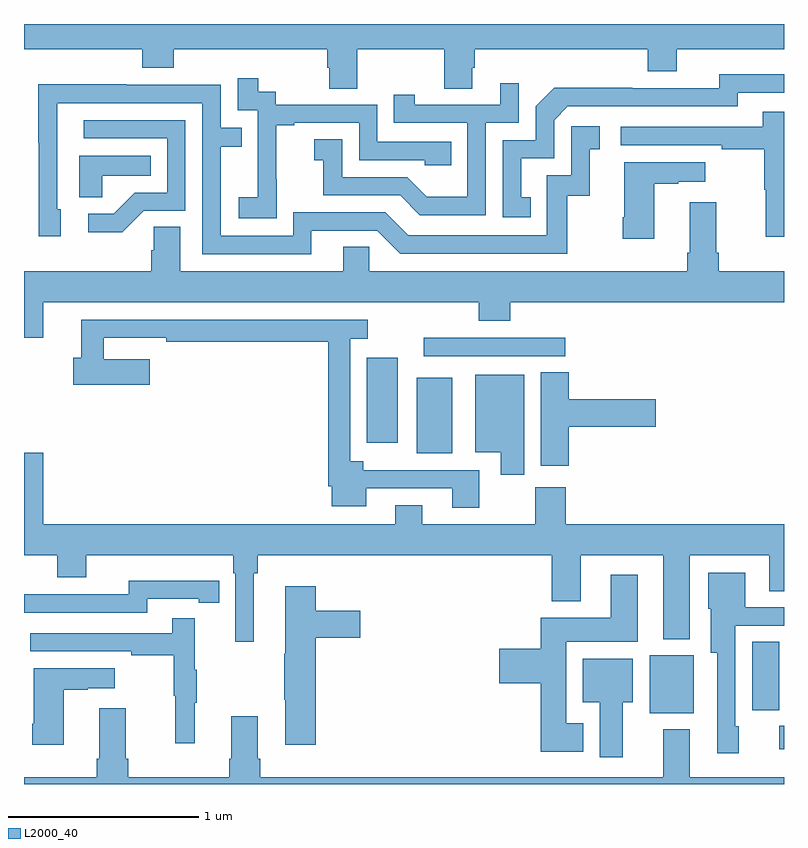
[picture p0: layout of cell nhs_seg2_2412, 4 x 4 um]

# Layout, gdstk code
import gdstk
lib = gdstk.Library(unit=1e-6, precision=1e-09)
def R(c, l, rs):  # rectangles x0, y0, x1, y1
    for r in rs: c.add(gdstk.rectangle(r[:2], r[2:], *l))
def P(c, l, *ps):  # polygons
    for p in ps: c.add(gdstk.Polygon(p, *l))
L2000_40 = (2000, 40)

nhs_seg2_2412 = lib.new_cell('nhs_seg2_2412')
R(nhs_seg2_2412, L2000_40, [(240.976,611.984,241,612.106), (240.293,612.173,240.526,612.478), (240.833,612.187,240.976,612.548), (239.066,613.541,239.254,613.939), (238.805,613.596,238.966,614.044), (239.103,614.052,239.848,614.148)])
P(nhs_seg2_2412, L2000_40, [(238.755,615.668),(239.212,615.668),(239.212,615.46),(239.359,615.46),(239.359,615.57),(239.372,615.57),(239.372,615.668),(240.284,615.668),(240.284,615.551),(240.436,615.551),(240.436,615.668),(241,615.668),(241,615.8),(237,615.8),(237,615.668),(237.623,615.668),(237.623,615.569),(237.788,615.569),(237.788,615.668),(238.595,615.668),(238.595,615.57),(238.607,615.57),(238.607,615.46),(238.755,615.46)],
  [(239.666,614.889),(239.617,614.889),(239.617,615.093),(239.79,615.093),(239.79,615.294),(239.862,615.366),(240.756,615.366),(240.756,615.438),(241,615.438),(241,615.535),(240.66,615.535),(240.66,615.462),(240.2,615.462),(240.2,615.464),(239.792,615.464),(239.694,615.366),(239.694,615.189),(239.52,615.189),(239.52,614.784),(239.666,614.784)],
  [(238.329,614.983),(238.328,614.983),(238.328,615.267),(238.423,615.267),(238.423,615.279),(238.764,615.279),(238.764,615.084),(239.109,615.084),(239.109,615.057),(239.249,615.057),(239.249,615.18),(238.86,615.18),(238.86,615.375),(238.326,615.375),(238.326,615.444),(238.234,615.444),(238.234,615.514),(238.125,615.514),(238.125,615.345),(238.23,615.345),(238.23,615.116),(238.229,615.116),(238.229,614.887),(238.131,614.887),(238.131,614.777),(238.329,614.777)],
  [(239.43,615.279),(239.604,615.279),(239.604,615.487),(239.507,615.487),(239.507,615.375),(239.056,615.375),(239.056,615.427),(238.945,615.427),(238.945,615.279),(239.334,615.279),(239.334,614.89),(239.12,614.89),(239.016,614.994),(238.674,614.994),(238.674,615.193),(238.527,615.193),(238.527,615.083),(238.576,615.083),(238.576,614.898),(238.979,614.898),(239.084,614.793),(239.43,614.793)],
  [(238.513,614.712),(238.86,614.712),(238.98,614.592),(239.86,614.592),(239.86,614.895),(239.978,614.895),(239.978,615.141),(240.031,615.141),(240.031,615.262),(239.88,615.262),(239.88,615.003),(239.751,615.003),(239.751,614.688),(239.022,614.688),(238.902,614.808),(238.416,614.808),(238.416,614.685),(238.035,614.685),(238.035,615.154),(238.145,615.154),(238.145,615.255),(238.035,615.255),(238.035,615.48),(237.539,615.48),(237.539,615.482),(237.076,615.482),(237.076,615.175),(237.078,615.175),(237.078,614.682),(237.193,614.682),(237.193,614.826),(237.174,614.826),(237.174,615.384),(237.939,615.384),(237.939,614.589),(238.513,614.589)],
  [(241,615.337),(240.889,615.337),(240.889,615.258),(240.141,615.258),(240.141,615.162),(240.673,615.162),(240.673,615.142),(240.897,615.142),(240.897,614.928),(240.904,614.928),(240.904,614.679),(241,614.679)],
  [(237.63,614.817),(237.849,614.817),(237.849,615.294),(237.315,615.294),(237.315,615.198),(237.753,615.198),(237.753,614.913),(237.584,614.913),(237.473,614.802),(237.339,614.802),(237.339,614.705),(237.517,614.705)],
  [(237.411,615.002),(237.668,615.002),(237.668,615.106),(237.29,615.106),(237.29,614.887),(237.411,614.887)],
  [(240.316,614.959),(240.443,614.959),(240.443,614.969),(240.586,614.969),(240.586,615.073),(240.158,615.073),(240.158,614.782),(240.151,614.782),(240.151,614.67),(240.316,614.67)],
  [(237.1,614.336),(239.393,614.336),(239.393,614.237),(239.558,614.237),(239.558,614.336),(241,614.336),(241,614.5),(240.656,614.5),(240.656,614.596),(240.643,614.596),(240.643,614.863),(240.503,614.863),(240.503,614.596),(240.491,614.596),(240.491,614.5),(238.818,614.5),(238.818,614.627),(238.679,614.627),(238.679,614.5),(237.823,614.5),(237.823,614.732),(237.684,614.732),(237.684,614.609),(237.671,614.609),(237.671,614.5),(237,614.5),(237,614.148),(237.1,614.148)],
  [(239.395,613.452),(238.786,613.452),(238.786,613.498),(238.716,613.498),(238.716,614.144),(238.81,614.144),(238.81,614.244),(237.302,614.244),(237.302,614.043),(237.26,614.043),(237.26,613.901),(237.661,613.901),(237.661,614.035),(237.419,614.035),(237.419,614.148),(237.748,614.148),(237.748,614.128),(238.6,614.128),(238.6,613.366),(238.619,613.366),(238.619,613.262),(238.801,613.262),(238.801,613.356),(239.255,613.356),(239.255,613.254),(239.395,613.254)],
  [(239.867,613.679),(240.325,613.679),(240.325,613.826),(239.867,613.826),(239.867,613.967),(239.72,613.967),(239.72,613.476),(239.867,613.476)],
  [(239.632,613.954),(239.375,613.954),(239.375,613.547),(239.51,613.547),(239.51,613.428),(239.632,613.428)],
  [(237.1,613.543),(237,613.543),(237,613.004),(237.176,613.004),(237.176,612.887),(237.328,612.887),(237.328,613.004),(238.1,613.004),(238.1,612.908),(238.113,612.908),(238.113,612.549),(238.21,612.549),(238.21,612.908),(238.229,612.908),(238.229,613.004),(239.777,613.004),(239.777,612.761),(239.929,612.761),(239.929,613.004),(240.365,613.004),(240.365,612.563),(240.505,612.563),(240.505,613.004),(240.923,613.004),(240.923,612.814),(241,612.814),(241,613.168),(239.852,613.168),(239.852,613.363),(239.692,613.363),(239.692,613.168),(239.095,613.168),(239.095,613.267),(238.955,613.267),(238.955,613.168),(237.1,613.168)],
  [(240.763,612.105),(240.744,612.105),(240.744,612.633),(241,612.633),(241,612.729),(240.796,612.729),(240.796,612.913),(240.602,612.913),(240.602,612.723),(240.614,612.723),(240.614,612.491),(240.648,612.491),(240.648,611.961),(240.763,611.961)],
  [(239.944,612.121),(239.854,612.121),(239.854,612.548),(240.229,612.548),(240.229,612.901),(240.089,612.901),(240.089,612.676),(239.72,612.676),(239.72,612.512),(239.502,612.512),(239.502,612.329),(239.72,612.329),(239.72,611.969),(239.944,611.969)],
  [(237.648,612.774),(237.92,612.774),(237.92,612.754),(238.028,612.754),(238.028,612.87),(237.92,612.87),(237.92,612.871),(237.552,612.871),(237.552,612.798),(237.092,612.798),(237.092,612.8),(237,612.8),(237,612.702),(237.648,612.702)],
  [(238.535,612.569),(238.771,612.569),(238.771,612.711),(238.535,612.711),(238.535,612.841),(238.376,612.841),(238.376,612.485),(238.369,612.485),(238.369,612.244),(238.376,612.244),(238.376,612.006),(238.535,612.006)],
  [(237.899,612.227),(237.91,612.227),(237.91,612.401),(237.899,612.401),(237.899,612.673),(237.781,612.673),(237.781,612.594),(237.033,612.594),(237.033,612.498),(237.565,612.498),(237.565,612.478),(237.789,612.478),(237.789,612.264),(237.796,612.264),(237.796,612.015),(237.899,612.015)],
  [(240.151,612.23),(240.205,612.23),(240.205,612.46),(239.942,612.46),(239.942,612.23),(240.029,612.23),(240.029,611.94),(240.151,611.94)],
  [(237.208,612.295),(237.335,612.295),(237.335,612.305),(237.478,612.305),(237.478,612.409),(237.05,612.409),(237.05,612.118),(237.043,612.118),(237.043,612.006),(237.208,612.006)],
  [(241,611.836),(240.505,611.836),(240.505,612.088),(240.365,612.088),(240.365,611.836),(238.244,611.836),(238.244,611.932),(238.231,611.932),(238.231,612.157),(238.091,612.157),(238.091,611.932),(238.079,611.932),(238.079,611.836),(237.548,611.836),(237.548,611.932),(237.535,611.932),(237.535,612.199),(237.395,612.199),(237.395,611.932),(237.383,611.932),(237.383,611.836),(237,611.836),(237,611.8),(241,611.8)])

lib.write_gds('nhs_seg2_2412.gds')
